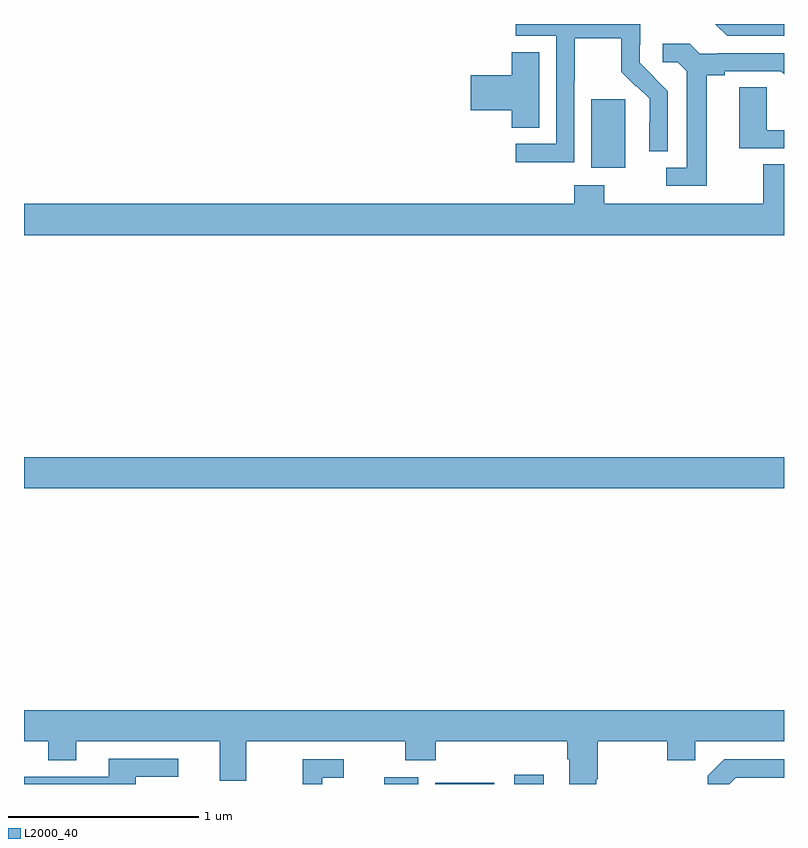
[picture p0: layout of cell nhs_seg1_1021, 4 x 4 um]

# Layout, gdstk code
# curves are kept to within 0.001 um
import gdstk
lib = gdstk.Library(unit=1e-6, precision=1e-09)
def R(c, l, rs):  # rectangles x0, y0, x1, y1
    for r in rs: c.add(gdstk.rectangle(r[:2], r[2:], *l))
def P(c, l, *ps):  # polygons
    for p in ps: c.add(gdstk.Polygon(p, *l))
L2000_40 = (2000, 40)

nhs_seg1_1021 = lib.new_cell('nhs_seg1_1021')
R(nhs_seg1_1021, L2000_40, [(168.896,526.199,169.075,526.234), (169.164,526.199,169.474,526.206), (169.58,526.199,169.735,526.249), (167,527.756,171,527.92), (169.985,529.442,170.164,529.803)])
P(nhs_seg1_1021, L2000_40, [(171,530.199),(170.637,530.199),(170.7,530.136),(171,530.136)],
  [(169.896,529.9),(169.899,529.9),(169.899,530.124),(170.143,530.124),(170.143,529.949),(170.22,529.872),(170.223,529.875),(170.294,529.805),(170.294,529.682),(170.292,529.682),(170.292,529.528),(170.388,529.528),(170.388,529.846),(170.242,529.994),(170.242,530.091),(170.244,530.091),(170.244,530.199),(169.587,530.199),(169.587,530.136),(169.8,530.136),(169.8,529.569),(169.587,529.569),(169.587,529.471),(169.896,529.471)],
  [(170.593,529.928),(170.689,529.928),(170.689,529.95),(170.984,529.95),(171,529.934),(171,530.046),(170.65,530.046),(170.65,530.043),(170.556,530.043),(170.504,530.095),(170.361,530.095),(170.361,529.998),(170.442,529.998),(170.489,529.951),(170.489,529.443),(170.379,529.443),(170.379,529.347),(170.593,529.347)],
  [(169.711,530.051),(169.568,530.051),(169.568,529.928),(169.35,529.928),(169.35,529.745),(169.568,529.745),(169.568,529.654),(169.711,529.654)],
  [(171,529.641),(170.91,529.641),(170.91,529.865),(170.765,529.865),(170.765,529.545),(171,529.545)],
  [(171,529.46),(170.891,529.46),(170.891,529.252),(170.055,529.252),(170.055,529.351),(169.895,529.351),(169.895,529.252),(167,529.252),(167,529.088),(171,529.088)],
  [(170.011,526.225),(170.019,526.225),(170.019,526.424),(170.386,526.424),(170.386,526.325),(170.532,526.325),(170.532,526.424),(171,526.424),(171,526.588),(167,526.588),(167,526.424),(167.128,526.424),(167.128,526.325),(167.275,526.325),(167.275,526.424),(168.029,526.424),(168.029,526.216),(168.169,526.216),(168.169,526.424),(169.006,526.424),(169.006,526.325),(169.166,526.325),(169.166,526.424),(169.859,526.424),(169.859,526.328),(169.871,526.328),(169.871,526.199),(170.011,526.199)],
  [(167.587,526.236),(167.812,526.236),(167.812,526.332),(167.447,526.332),(167.447,526.236),(167,526.236),(167,526.199),(167.587,526.199)],
  [(168.571,526.233),(168.682,526.233),(168.682,526.329),(168.467,526.329),(168.467,526.199),(168.571,526.199)],
  [(170.745,526.233),(171,526.233),(171,526.329),(170.685,526.329),(170.598,526.242),(170.598,526.199),(170.711,526.199)])

lib.write_gds('nhs_seg1_1021.gds')
